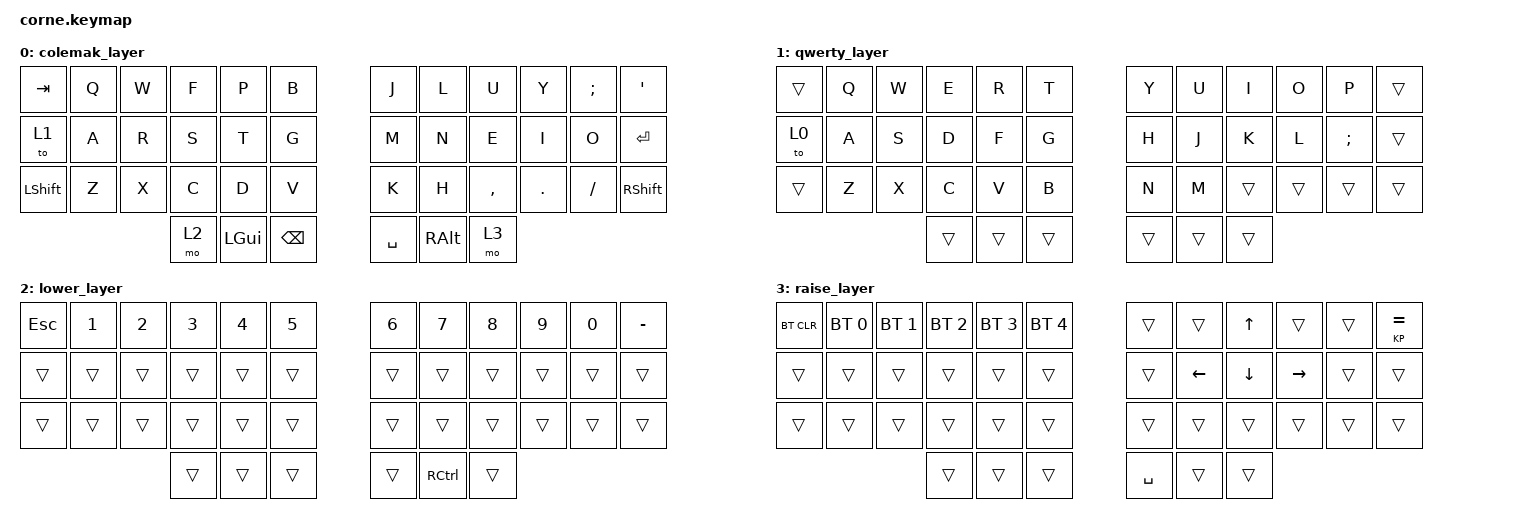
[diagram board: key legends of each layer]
/*
 * Copyright (c) 2020 The ZMK Contributors
 *
 * SPDX-License-Identifier: MIT
 */

#include <behaviors.dtsi>
#include <dt-bindings/zmk/bt.h>
#include <dt-bindings/zmk/keys.h>

#define	COLEMAK	0
#define	QWERTY	1
#define	LOWER	2
#define	RAISE	3

/ {
    keymap {
        compatible = "zmk,keymap";

        colemak_layer {
            // ---------------------------------------------------------------------------------
            // |  TAB  |  Q  |  W  |  F  |  P  |  B  |   |  J  |  L  |  U  |  Y  |  ;  |   '   |
            // | TO(1) |  A  |  R  |  S  |  T  |  G  |   |  M  |  N  |  E  |  I  |  O  | ENTER |
            // | SHIFT |  Z  |  X  |  C  |  D  |  V  |   |  K  |  H  |  ,  |  .  |  /  | SHIFT |
            //                     | LWR | GUI |BKSPC|   | SPC | ALT | RSE |

            bindings = <
&kp TAB    &kp Q  &kp W  &kp F  &kp P     &kp B     &kp J      &kp L     &kp U      &kp Y    &kp SEMI  &kp SQT
&to 1      &kp A  &kp R  &kp S  &kp T     &kp G     &kp M      &kp N     &kp E      &kp I    &kp O     &kp RET
&kp LSHFT  &kp Z  &kp X  &kp C  &kp D     &kp V     &kp K      &kp H     &kp COMMA  &kp DOT  &kp FSLH  &kp RSHFT
                         &mo 2  &kp LGUI  &kp BSPC  &kp SPACE  &kp RALT  &mo 3
            >;
        };

        qwerty_layer {
            // ---------------------------------------------------------------------------------
            // |       |  Q  |  W  |  E  |  R  |  T  |   |  Y  |  U  |  I  |  O  |  P  |       |
            // | TO(0) |  A  |  S  |  D  |  F  |  G  |   |  H  |  J  |  K  |  L  |  ;  |       |
            // |       |  Z  |  X  |  C  |  V  |  B  |   |  N  |  M  |     |     |     |       |
            //                     |     |     |     |   |     |     |     |

            bindings = <
&trans  &kp Q  &kp W  &kp E   &kp R   &kp T     &kp Y   &kp U   &kp I   &kp O   &kp P     &trans
&to 0   &kp A  &kp S  &kp D   &kp F   &kp G     &kp H   &kp J   &kp K   &kp L   &kp SEMI  &trans
&trans  &kp Z  &kp X  &kp C   &kp V   &kp B     &kp N   &kp M   &trans  &trans  &trans    &trans
                      &trans  &trans  &trans    &trans  &trans  &trans
            >;
        };

        lower_layer {
            // ---------------------------------------------------------------------------------
            // |  ESC  |  1  |  2  |  3  |  4  |  5  |   |  6  |  7  |  8  |  9  |  0  |   -   |
            // |       |     |     |     |     |     |   |     |     |     |     |     |       |
            // |       |     |     |     |     |     |   |     |     |     |     |     |       |
            //                     |     |     |     |   |     |CTRL |     |

            bindings = <
&kp ESC  &kp N1  &kp N2  &kp N3  &kp N4  &kp N5    &kp N6  &kp N7     &kp N8  &kp N9  &kp N0  &kp MINUS
&trans   &trans  &trans  &trans  &trans  &trans    &trans  &trans     &trans  &trans  &trans  &trans
&trans   &trans  &trans  &trans  &trans  &trans    &trans  &trans     &trans  &trans  &trans  &trans
                         &trans  &trans  &trans    &trans  &kp RCTRL  &trans
            >;
        };

        raise_layer {
            // ---------------------------------------------------------------------------------
            // | BTCLR | BT1 | BT2 | BT3 | BT4 | BT5 |   |     |     |  ^  |     |     |   +   |
            // |       |     |     |     |     |     |   |     |  <- |  v  | ->  |     |       |
            // |       |     |     |     |     |     |   |     |     |     |     |     |       |
            //                     |     |     |     |   | SPC |     |     |

            bindings = <
&bt BT_CLR  &bt BT_SEL 0  &bt BT_SEL 1  &bt BT_SEL 2  &bt BT_SEL 3  &bt BT_SEL 4    &trans     &trans    &kp UP    &trans     &trans  &KP EQUAL
&trans      &trans        &trans        &trans        &trans        &trans          &trans     &kp LEFT  &kp DOWN  &kp RIGHT  &trans  &trans
&trans      &trans        &trans        &trans        &trans        &trans          &trans     &trans    &trans    &trans     &trans  &trans
                                        &trans        &trans        &trans          &kp SPACE  &trans    &trans
            >;
        };
    };
};
